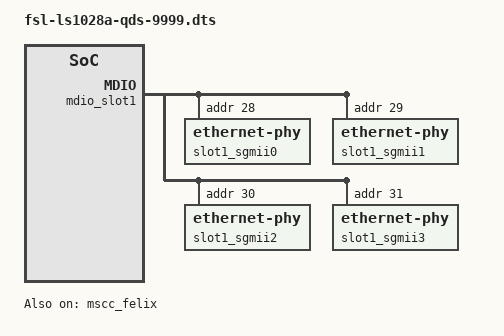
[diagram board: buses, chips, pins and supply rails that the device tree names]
// SPDX-License-Identifier: (GPL-2.0+ OR MIT)
/*
 * Device Tree fragment for LS1028A QDS board, serdes 85xx
 *
 * Copyright 2019-2021 NXP
 *
 * Requires a LS1028A QDS board without lane B rework.
 * Requires a SCH-24801 card in slot 1.
 */

/dts-v1/;
/plugin/;

&mdio_slot1 {
	#address-cells = <1>;
	#size-cells = <0>;

	/* VSC8234 */
	slot1_sgmii0: ethernet-phy@1c {
		reg = <0x1c>;
	};

	slot1_sgmii1: ethernet-phy@1d {
		reg = <0x1d>;
	};

	slot1_sgmii2: ethernet-phy@1e {
		reg = <0x1e>;
	};

	slot1_sgmii3: ethernet-phy@1f {
		reg = <0x1f>;
	};
};

&mscc_felix_ports {
	port@0 {
		status = "okay";
		phy-handle = <&slot1_sgmii0>;
		phy-mode = "sgmii";
		managed = "in-band-status";
	};

	port@1 {
		status = "okay";
		phy-handle = <&slot1_sgmii1>;
		phy-mode = "sgmii";
		managed = "in-band-status";
	};

	port@2 {
		status = "okay";
		phy-handle = <&slot1_sgmii2>;
		phy-mode = "sgmii";
		managed = "in-band-status";
	};

	port@3 {
		status = "okay";
		phy-handle = <&slot1_sgmii3>;
		phy-mode = "sgmii";
		managed = "in-band-status";
	};
};

&mscc_felix {
	status = "okay";
};
